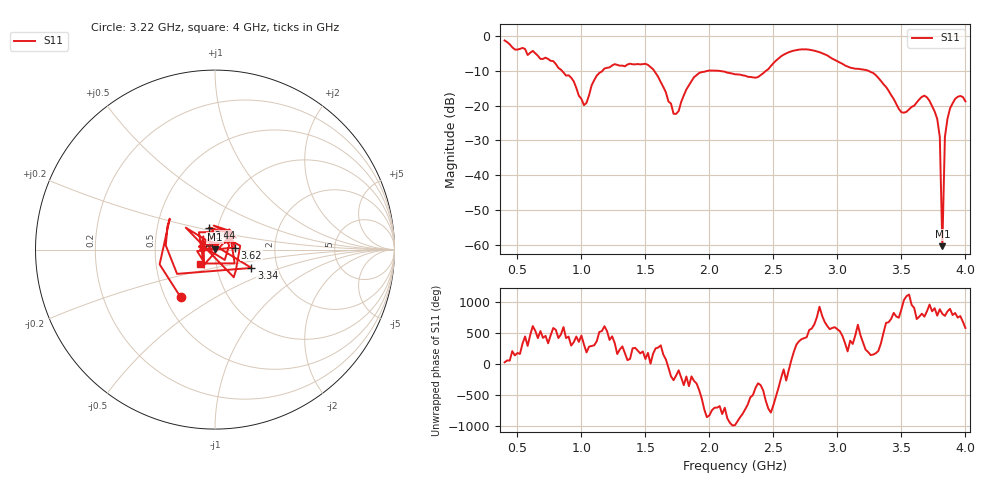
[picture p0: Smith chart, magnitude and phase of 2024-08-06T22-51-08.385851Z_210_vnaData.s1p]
!Created with skrf (http://scikit-rf.org).
# Hz S RI R 50.0
!freq ReS11 ImS11
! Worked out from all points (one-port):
!   181 points, 400 MHz to 4 GHz, reference 50 ohm
!   lowest |S11| = -60.4 dB at 3.82 GHz (marker M1), VSWR 1.00, Z = 50 + j0.0951 ohm
!   |S11| at or under -10 dB: 1.569 GHz to 1.984 GHz (414.8 MHz wide, 23.3 % of centre); 2.082 GHz to 2.441 GHz (358.9 MHz wide, 15.9 % of centre); 3.244 GHz to end of sweep (the widest 3 of 4)
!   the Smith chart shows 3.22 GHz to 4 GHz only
!   S11 on the Smith chart (normalised r, x): 3.22 GHz: 0.60, -0.36; 3.34 GHz: 1.47, -0.32; 3.44 GHz: 0.91, +0.22; 3.62 GHz: 1.25, +0.03; 4 GHz: 0.83, -0.13
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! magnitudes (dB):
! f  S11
! 400 MHz  -1.2
! 860 MHz  -10.5
! 940 MHz  -13.0
! 1.02 GHz  -19.9
! 1.12 GHz  -11.3
! 1.3 GHz  -8.5
! 1.52 GHz  -8.3
! 1.72 GHz  -22.3
! 1.76 GHz  -21.5
! 1.92 GHz  -10.6
! 2.2 GHz  -11.0
! 2.38 GHz  -11.8
! 2.66 GHz  -4.1
! 3.1 GHz  -9.0
! 3.22 GHz  -9.7
! 3.34 GHz  -12.9
! 3.44 GHz  -18.1
! 3.5 GHz  -21.9
! 3.56 GHz  -21.1
! 3.62 GHz  -19.1
! 3.7 GHz  -17.6
! 3.78 GHz  -23.8
! 3.8 GHz  -29.0
! 3.82 GHz  -60.4
! 3.84 GHz  -29.0
! 3.86 GHz  -23.8
! 3.92 GHz  -18.0
! 4 GHz  -18.7
